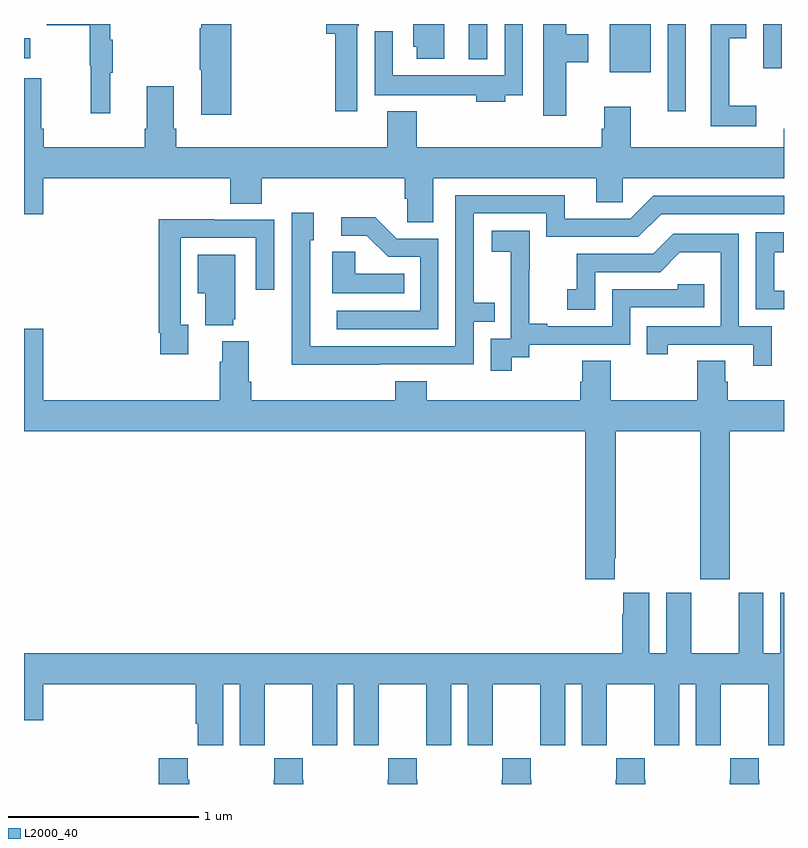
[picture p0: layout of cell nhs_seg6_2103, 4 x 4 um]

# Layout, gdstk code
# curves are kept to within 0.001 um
import gdstk
lib = gdstk.Library(unit=1e-6, precision=1e-09)
def R(c, l, rs):  # rectangles x0, y0, x1, y1
    for r in rs: c.add(gdstk.rectangle(r[:2], r[2:], *l))
def P(c, l, *ps):  # polygons
    for p in ps: c.add(gdstk.Polygon(p, *l))
L2000_40 = (2000, 40)

nhs_seg6_2103 = lib.new_cell('nhs_seg6_2103')
R(nhs_seg6_2103, L2000_40, [(240.387,929.04,240.484,929.5), (240.083,929.246,240.298,929.5), (240.891,929.268,240.987,929.5), (239.342,929.315,239.439,929.5), (237,929.321,237.034,929.425)])
P(nhs_seg6_2103, L2000_40, [(239.533,929.124),(239.625,929.124),(239.625,929.5),(239.529,929.5),(239.529,929.23),(238.941,929.23),(238.941,929.461),(238.845,929.461),(238.845,929.126),(239.149,929.126),(239.149,929.124),(239.381,929.124),(239.381,929.09),(239.533,929.09)],
  [(237.455,929.243),(237.466,929.243),(237.466,929.417),(237.455,929.417),(237.455,929.5),(237.121,929.5),(237.121,929.494),(237.345,929.494),(237.345,929.28),(237.352,929.28),(237.352,929.031),(237.455,929.031)],
  [(238.755,929.49),(238.762,929.49),(238.762,929.5),(238.592,929.5),(238.592,929.45),(238.639,929.45),(238.639,929.04),(238.755,929.04)],
  [(239.854,929.299),(239.971,929.299),(239.971,929.446),(239.854,929.446),(239.854,929.5),(239.732,929.5),(239.732,929.016),(239.854,929.016)],
  [(238.091,929.5),(237.932,929.5),(237.932,929.477),(237.925,929.477),(237.925,929.26),(237.932,929.26),(237.932,929.022),(238.091,929.022)],
  [(239.212,929.5),(239.048,929.5),(239.048,929.379),(239.066,929.379),(239.066,929.316),(239.212,929.316)],
  [(240.853,929.071),(240.713,929.071),(240.713,929.426),(240.802,929.426),(240.802,929.5),(240.614,929.5),(240.614,928.962),(240.853,928.962)],
  [(239.155,928.688),(240.011,928.688),(240.011,928.561),(240.15,928.561),(240.15,928.688),(241,928.688),(241,928.95),(240.998,928.95),(240.998,928.852),(240.193,928.852),(240.193,929.065),(240.053,929.065),(240.053,928.95),(240.041,928.95),(240.041,928.852),(239.066,928.852),(239.066,929.041),(238.913,929.041),(238.913,928.852),(237.8,928.852),(237.8,928.948),(237.787,928.948),(237.787,929.173),(237.647,929.173),(237.647,928.948),(237.635,928.948),(237.635,928.852),(237.104,928.852),(237.104,928.948),(237.091,928.948),(237.091,929.215),(237,929.215),(237,928.5),(237.1,928.5),(237.1,928.688),(238.085,928.688),(238.085,928.555),(238.25,928.555),(238.25,928.688),(239.003,928.688),(239.003,928.579),(239.016,928.579),(239.016,928.456),(239.155,928.456)],
  [(238.871,927.708),(239.367,927.708),(239.367,927.933),(239.477,927.933),(239.477,928.034),(239.367,928.034),(239.367,928.503),(239.748,928.503),(239.748,928.38),(240.234,928.38),(240.354,928.5),(241,928.5),(241,928.596),(240.312,928.596),(240.192,928.476),(239.845,928.476),(239.845,928.599),(239.271,928.599),(239.271,927.804),(238.506,927.804),(238.506,928.362),(238.525,928.362),(238.525,928.507),(238.41,928.507),(238.41,928.013),(238.408,928.013),(238.408,927.707)],
  [(239.181,928.371),(238.962,928.371),(238.849,928.484),(238.671,928.484),(238.671,928.386),(238.805,928.386),(238.916,928.275),(239.085,928.275),(239.085,927.99),(238.647,927.99),(238.647,927.894),(239.181,927.894)],
  [(237.865,927.918),(237.825,927.918),(237.825,928.374),(238.221,928.374),(238.221,928.101),(238.317,928.101),(238.317,928.47),(238.001,928.47),(238.001,928.472),(237.709,928.472),(237.709,927.874),(237.717,927.874),(237.717,927.762),(237.865,927.762)],
  [(239.566,927.745),(239.658,927.745),(239.658,927.813),(240.192,927.813),(240.192,928.008),(240.581,928.008),(240.581,928.131),(240.441,928.131),(240.441,928.104),(240.096,928.104),(240.096,927.909),(239.755,927.909),(239.755,927.922),(239.66,927.922),(239.66,928.205),(239.661,928.205),(239.661,928.411),(239.463,928.411),(239.463,928.301),(239.561,928.301),(239.561,928.073),(239.562,928.073),(239.562,927.843),(239.457,927.843),(239.457,927.675),(239.566,927.675)],
  [(241,928.095),(240.949,928.095),(240.949,928.299),(240.998,928.299),(240.998,928.405),(240.852,928.405),(240.852,927.999),(241,927.999)],
  [(240.936,927.909),(240.762,927.909),(240.762,928.395),(240.416,928.395),(240.311,928.29),(239.908,928.29),(239.908,928.105),(239.859,928.105),(239.859,927.996),(240.006,927.996),(240.006,928.194),(240.348,928.194),(240.452,928.298),(240.666,928.298),(240.666,927.909),(240.277,927.909),(240.277,927.762),(240.388,927.762),(240.388,927.813),(240.839,927.813),(240.839,927.702),(240.936,927.702)],
  [(239,928.186),(238.743,928.186),(238.743,928.301),(238.622,928.301),(238.622,928.082),(239,928.082)],
  [(238.1,927.945),(238.111,927.945),(238.111,928.285),(237.914,928.285),(237.914,928.082),(237.953,928.082),(237.953,927.914),(238.1,927.914)],
  [(239.954,926.577),(240.109,926.577),(240.109,926.689),(240.114,926.689),(240.114,927.356),(240.559,927.356),(240.559,926.577),(240.714,926.577),(240.714,927.356),(241,927.356),(241,927.52),(240.704,927.52),(240.704,927.618),(240.691,927.618),(240.691,927.728),(240.544,927.728),(240.544,927.52),(240.087,927.52),(240.087,927.728),(239.939,927.728),(239.939,927.618),(239.927,927.618),(239.927,927.52),(239.12,927.52),(239.12,927.619),(238.955,927.619),(238.955,927.52),(238.196,927.52),(238.196,927.616),(238.183,927.616),(238.183,927.829),(238.043,927.829),(238.043,927.722),(238.031,927.722),(238.031,927.52),(237.1,927.52),(237.1,927.895),(237,927.895),(237,927.356),(239.954,927.356)],
  [(240.892,926.506),(240.761,926.506),(240.761,926.188),(240.511,926.188),(240.511,926.506),(240.38,926.506),(240.38,926.188),(240.292,926.188),(240.292,926.506),(240.155,926.506),(240.155,926.393),(240.149,926.393),(240.149,926.188),(237,926.188),(237,925.836),(237.1,925.836),(237.1,926.024),(237.905,926.024),(237.905,925.816),(237.914,925.816),(237.914,925.704),(238.048,925.704),(238.048,926.024),(238.136,926.024),(238.136,925.704),(238.266,925.704),(238.266,925.816),(238.267,925.816),(238.267,926.024),(238.517,926.024),(238.517,925.816),(238.518,925.816),(238.518,925.704),(238.648,925.704),(238.648,926.024),(238.736,926.024),(238.736,925.704),(238.866,925.704),(238.866,925.816),(238.867,925.816),(238.867,926.024),(239.117,926.024),(239.117,925.816),(239.118,925.816),(239.118,925.704),(239.248,925.704),(239.248,926.024),(239.336,926.024),(239.336,925.704),(239.466,925.704),(239.466,925.816),(239.467,925.816),(239.467,926.024),(239.717,926.024),(239.717,925.816),(239.718,925.816),(239.718,925.704),(239.848,925.704),(239.848,926.024),(239.936,926.024),(239.936,925.704),(240.066,925.704),(240.066,925.816),(240.067,925.816),(240.067,926.024),(240.317,926.024),(240.317,925.816),(240.318,925.816),(240.318,925.704),(240.448,925.704),(240.448,926.024),(240.536,926.024),(240.536,925.704),(240.666,925.704),(240.666,925.816),(240.667,925.816),(240.667,926.024),(240.917,926.024),(240.917,925.816),(240.918,925.816),(240.918,925.704),(241,925.704),(241,926.506),(240.98,926.506),(240.98,926.188),(240.892,926.188)],
  [(237.87,925.523),(237.863,925.523),(237.863,925.636),(237.71,925.636),(237.71,925.5),(237.87,925.5)],
  [(238.47,925.523),(238.467,925.523),(238.467,925.636),(238.317,925.636),(238.317,925.523),(238.315,925.523),(238.315,925.5),(238.47,925.5)],
  [(239.07,925.523),(239.067,925.523),(239.067,925.636),(238.917,925.636),(238.917,925.523),(238.915,925.523),(238.915,925.5),(239.07,925.5)],
  [(239.67,925.523),(239.667,925.523),(239.667,925.636),(239.517,925.636),(239.517,925.523),(239.515,925.523),(239.515,925.5),(239.67,925.5)],
  [(240.27,925.523),(240.267,925.523),(240.267,925.636),(240.117,925.636),(240.117,925.523),(240.115,925.523),(240.115,925.5),(240.27,925.5)],
  [(240.87,925.523),(240.867,925.523),(240.867,925.636),(240.717,925.636),(240.717,925.523),(240.715,925.523),(240.715,925.5),(240.87,925.5)])

lib.write_gds('nhs_seg6_2103.gds')
